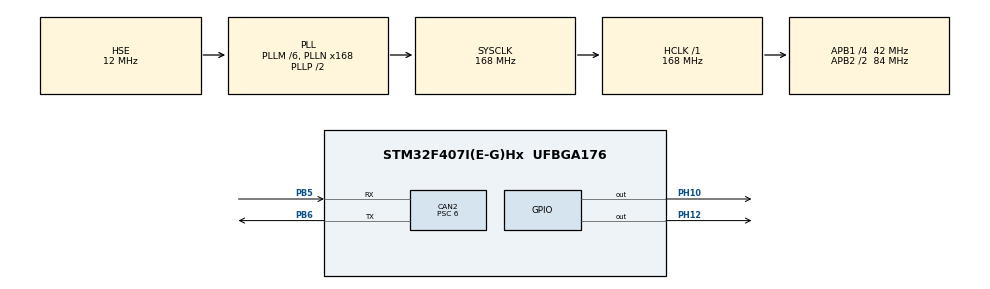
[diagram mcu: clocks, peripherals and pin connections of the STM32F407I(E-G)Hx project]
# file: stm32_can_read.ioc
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CAN2.BS1=CAN_BS1_7TQ
CAN2.BS2=CAN_BS2_6TQ
CAN2.CalculateBaudRate=500000
CAN2.CalculateTimeBit=2000
CAN2.CalculateTimeQuantum=142.85714285714286
CAN2.Prescaler=6
CAN2.SJW=CAN_SJW_1TQ
Mcu.Family=STM32F4
Mcu.Name=STM32F407I(E-G)Hx
Mcu.Package=UFBGA176
NVIC.PriorityGroup=NVIC_PRIORITYGROUP_4
PA13.Mode=Serial_Wire
PA13.Signal=SYS_JTMS-SWDIO
PA14.Mode=Serial_Wire
PA14.Signal=SYS_JTCK-SWCLK
PB5.Mode=CAN_Activate
PB5.Signal=CAN2_RX
PB6.Mode=CAN_Activate
PB6.Signal=CAN2_TX
PH0-OSC_IN.Mode=HSE-External-Oscillator
PH0-OSC_IN.Signal=RCC_OSC_IN
PH1-OSC_OUT.Mode=HSE-External-Oscillator
PH1-OSC_OUT.Signal=RCC_OSC_OUT
PH10.Signal=GPIO_Output
PH12.Signal=GPIO_Output
ProjectManager.HeapSize=0x200
ProjectManager.StackSize=0x400
ProjectManager.TargetToolchain=STM32CubeIDE
RCC.48MHZClocksFreq_Value=84000000
RCC.AHBFreq_Value=168000000
RCC.APB1CLKDivider=RCC_HCLK_DIV4
RCC.APB1Freq_Value=42000000
RCC.APB1TimFreq_Value=84000000
RCC.APB2CLKDivider=RCC_HCLK_DIV2
RCC.APB2Freq_Value=84000000
RCC.APB2TimFreq_Value=168000000
RCC.CortexFreq_Value=168000000
RCC.HCLKFreq_Value=168000000
RCC.HSE_VALUE=12000000
RCC.HSI_VALUE=16000000
RCC.LSE_VALUE=32768
RCC.PLLM=6
RCC.PLLN=168
RCC.PLLSourceVirtual=RCC_PLLSOURCE_HSE
RCC.SYSCLKFreq_VALUE=168000000
RCC.SYSCLKSource=RCC_SYSCLKSOURCE_PLLCLK
RCC.VCOOutputFreq_Value=336000000
board=custom

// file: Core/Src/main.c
/* USER CODE BEGIN Header */
/**
  ******************************************************************************
  * @file           : main.c
  * @brief          : Main program body
  ******************************************************************************
  * @attention
  *
  * Copyright (c) 2022 STMicroelectronics.
  * All rights reserved.
  *
  * This software is licensed under terms that can be found in the LICENSE file
  * in the root directory of this software component.
  * If no LICENSE file comes with this software, it is provided AS-IS.
  *
  ******************************************************************************
  */
/* USER CODE END Header */
#include "main.h"

 CAN_HandleTypeDef hcan2;

void SystemClock_Config(void);
static void MX_GPIO_Init(void);
static void MX_CAN2_Init(void);

int main(void)
{

  /* MCU Configuration--------------------------------------------------------*/

  /* Reset of all peripherals, Initializes the Flash interface and the Systick. */
  HAL_Init();

  /* Configure the system clock */
  SystemClock_Config();

  /* Initialize all configured peripherals */
  MX_GPIO_Init();
  MX_CAN2_Init();
  /* USER CODE BEGIN 2 */
  HAL_GPIO_WritePin(GPIOH,GPIO_PIN_12,GPIO_PIN_SET);//HAL_GPIO_WritePin(GPIOH, GPIO_PIN_10,GPIO_PIN_SET);
  CAN_TxHeaderTypeDef tx;
  tx.StdId=0x501;
  tx.DLC=8;
  tx.IDE=CAN_ID_STD;
  tx.TransmitGlobalTime=DISABLE;
  tx.RTR=CAN_RTR_DATA;
  uint8_t tx_data[8]={1,2,3,4,5,6,7,8};
  uint32_t mail;

  CAN_RxHeaderTypeDef rx;

  CAN_FilterTypeDef can_filter_st;
      can_filter_st.FilterActivation = ENABLE;
      can_filter_st.FilterMode = CAN_FILTERMODE_IDMASK;
      can_filter_st.FilterScale = CAN_FILTERSCALE_32BIT;
      can_filter_st.FilterIdHigh = 0x0000;
      can_filter_st.FilterIdLow = 0x0000;
      can_filter_st.FilterMaskIdHigh = 0x0000;
      can_filter_st.FilterMaskIdLow = 0x0000;
      can_filter_st.FilterBank = 0;
      can_filter_st.FilterFIFOAssignment = CAN_FilterFIFO0;
  HAL_CAN_ConfigFilter(&hcan2, &can_filter_st);

  HAL_CAN_Start(&hcan2);
  HAL_CAN_ActivateNotification(&hcan2, CAN_IT_RX_FIFO0_MSG_PENDING);
  float wei=119.21;
  char m[6];
  	  	m[0]=(int)wei/100%10+'0';
  		m[1]=(int)wei/10%10+'0';
  		m[2]=(int)wei%10+'0';
  		m[3]=46;
  		m[4]=(int)(wei*10)%10+'0';
  		m[5]=(int)(wei*100)%10+'0';
 // HAL_CAN_ActivateNotification(&hcan2,);
  /* USER CODE END 2 */

  /* Infinite loop */
  /* USER CODE BEGIN WHILE */
  while (1)
  {
	  //HAL_UART_Transmit(&huart1,(uint8_t*)&m,sizeof(m), 1000);
    /* USER CODE END WHILE */
	  if(HAL_CAN_GetRxMessage(&hcan2, CAN_FilterFIFO0,&rx,tx_data)==HAL_OK)
	  {
		  HAL_GPIO_WritePin(GPIOH, GPIO_PIN_10,GPIO_PIN_SET);
	  }
    /* USER CODE BEGIN 3 */
	//HAL_Delay(10);
  }
  /* USER CODE END 3 */
}

void SystemClock_Config(void)
{
  RCC_OscInitTypeDef RCC_OscInitStruct = {0};
  RCC_ClkInitTypeDef RCC_ClkInitStruct = {0};

  /** Configure the main internal regulator output voltage
  */
  __HAL_RCC_PWR_CLK_ENABLE();
  __HAL_PWR_VOLTAGESCALING_CONFIG(PWR_REGULATOR_VOLTAGE_SCALE1);

  /** Initializes the RCC Oscillators according to the specified parameters
  * in the RCC_OscInitTypeDef structure.
  */
  RCC_OscInitStruct.OscillatorType = RCC_OSCILLATORTYPE_HSE;
  RCC_OscInitStruct.HSEState = RCC_HSE_ON;
  RCC_OscInitStruct.PLL.PLLState = RCC_PLL_ON;
  RCC_OscInitStruct.PLL.PLLSource = RCC_PLLSOURCE_HSE;
  RCC_OscInitStruct.PLL.PLLM = 6;
  RCC_OscInitStruct.PLL.PLLN = 168;
  RCC_OscInitStruct.PLL.PLLP = RCC_PLLP_DIV2;
  RCC_OscInitStruct.PLL.PLLQ = 4;
  if (HAL_RCC_OscConfig(&RCC_OscInitStruct) != HAL_OK)
  {
    Error_Handler();
  }

  /** Initializes the CPU, AHB and APB buses clocks
  */
  RCC_ClkInitStruct.ClockType = RCC_CLOCKTYPE_HCLK|RCC_CLOCKTYPE_SYSCLK
                              |RCC_CLOCKTYPE_PCLK1|RCC_CLOCKTYPE_PCLK2;
  RCC_ClkInitStruct.SYSCLKSource = RCC_SYSCLKSOURCE_PLLCLK;
  RCC_ClkInitStruct.AHBCLKDivider = RCC_SYSCLK_DIV1;
  RCC_ClkInitStruct.APB1CLKDivider = RCC_HCLK_DIV4;
  RCC_ClkInitStruct.APB2CLKDivider = RCC_HCLK_DIV2;

  if (HAL_RCC_ClockConfig(&RCC_ClkInitStruct, FLASH_LATENCY_5) != HAL_OK)
  {
    Error_Handler();
  }
}

static void MX_CAN2_Init(void)
{

  hcan2.Instance = CAN2;
  hcan2.Init.Prescaler = 6;
  hcan2.Init.Mode = CAN_MODE_NORMAL;
  hcan2.Init.SyncJumpWidth = CAN_SJW_1TQ;
  hcan2.Init.TimeSeg1 = CAN_BS1_7TQ;
  hcan2.Init.TimeSeg2 = CAN_BS2_6TQ;
  hcan2.Init.TimeTriggeredMode = DISABLE;
  hcan2.Init.AutoBusOff = DISABLE;
  hcan2.Init.AutoWakeUp = DISABLE;
  hcan2.Init.AutoRetransmission = DISABLE;
  hcan2.Init.ReceiveFifoLocked = DISABLE;
  hcan2.Init.TransmitFifoPriority = DISABLE;
  if (HAL_CAN_Init(&hcan2) != HAL_OK)
  {
    Error_Handler();
  }

}

static void MX_GPIO_Init(void)
{
  GPIO_InitTypeDef GPIO_InitStruct = {0};

  /* GPIO Ports Clock Enable */
  __HAL_RCC_GPIOB_CLK_ENABLE();
  __HAL_RCC_GPIOA_CLK_ENABLE();
  __HAL_RCC_GPIOH_CLK_ENABLE();

  /*Configure GPIO pin Output Level */
  HAL_GPIO_WritePin(GPIOH, GPIO_PIN_12|GPIO_PIN_10, GPIO_PIN_RESET);

  /*Configure GPIO pins : PH12 PH10 */
  GPIO_InitStruct.Pin = GPIO_PIN_12|GPIO_PIN_10;
  GPIO_InitStruct.Mode = GPIO_MODE_OUTPUT_PP;
  GPIO_InitStruct.Pull = GPIO_NOPULL;
  GPIO_InitStruct.Speed = GPIO_SPEED_FREQ_LOW;
  HAL_GPIO_Init(GPIOH, &GPIO_InitStruct);

}

void Error_Handler(void)
{
  __disable_irq();
  while (1)
  {
  }
}
